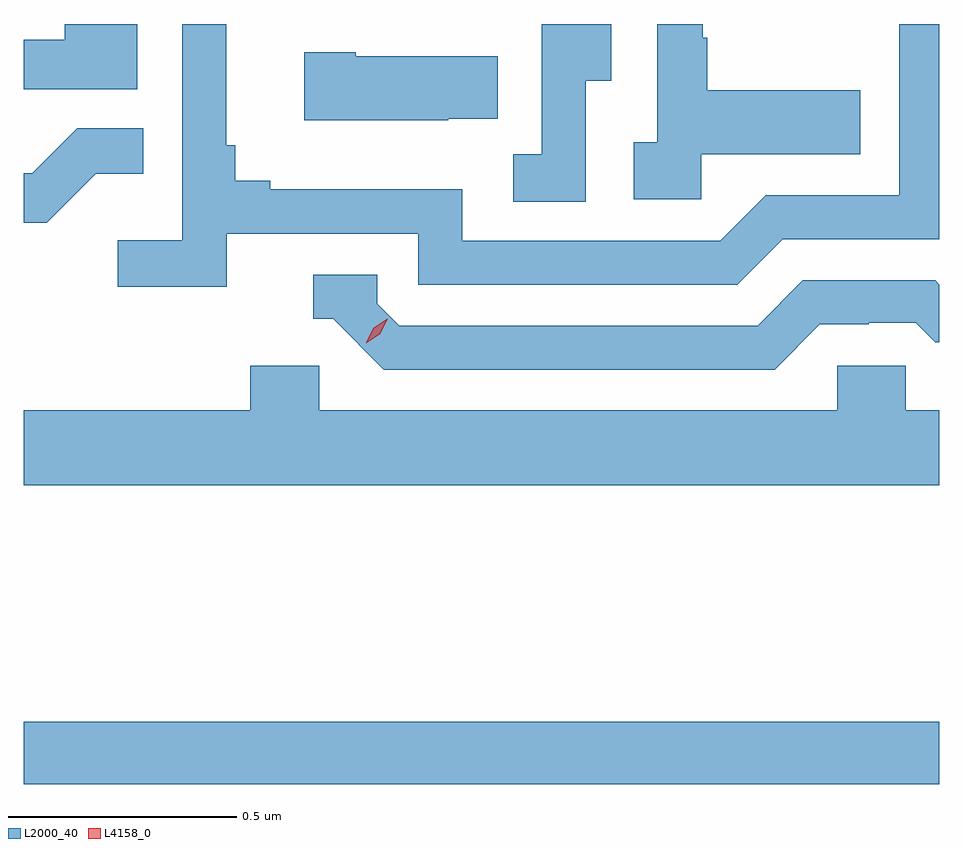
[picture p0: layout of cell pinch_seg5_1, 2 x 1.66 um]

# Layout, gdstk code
import gdstk
lib = gdstk.Library(unit=1e-6, precision=1e-09)
def R(c, l, rs):  # rectangles x0, y0, x1, y1
    for r in rs: c.add(gdstk.rectangle(r[:2], r[2:], *l))
def P(c, l, *ps):  # polygons
    for p in ps: c.add(gdstk.Polygon(p, *l))
L2000_40 = (2000, 40)
L4158_0 = (4158, 0)

pinch_seg5_1 = lib.new_cell('pinch_seg5_1')
R(pinch_seg5_1, L2000_40, [(1078.784,908.056,1080.784,908.192)])
P(pinch_seg5_1, L2000_40, [(1079.228,909.258),(1079.646,909.258),(1079.646,909.147),(1080.343,909.147),(1080.442,909.246),(1080.784,909.246),(1080.784,909.716),(1080.696,909.716),(1080.696,909.342),(1080.405,909.342),(1080.306,909.243),(1079.742,909.243),(1079.742,909.355),(1079.323,909.355),(1079.323,909.374),(1079.246,909.374),(1079.246,909.451),(1079.227,909.451),(1079.227,909.716),(1079.13,909.716),(1079.13,909.244),(1078.989,909.244),(1078.989,909.142),(1079.228,909.142)],
  [(1080.264,909.431),(1080.611,909.431),(1080.611,909.571),(1080.277,909.571),(1080.277,909.686),(1080.267,909.686),(1080.267,909.716),(1080.168,909.716),(1080.168,909.458),(1080.117,909.458),(1080.117,909.333),(1080.264,909.333)],
  [(1079.032,909.716),(1078.874,909.716),(1078.874,909.682),(1078.784,909.682),(1078.784,909.573),(1079.032,909.573)],
  [(1080.012,909.592),(1080.067,909.592),(1080.067,909.716),(1079.916,909.716),(1079.916,909.431),(1079.853,909.431),(1079.853,909.328),(1080.012,909.328)],
  [(1079.711,909.509),(1079.819,909.509),(1079.819,909.646),(1079.509,909.646),(1079.509,909.654),(1079.397,909.654),(1079.397,909.506),(1079.711,909.506)],
  [(1078.941,909.389),(1079.045,909.389),(1079.045,909.488),(1078.901,909.488),(1078.803,909.39),(1078.784,909.39),(1078.784,909.282),(1078.834,909.282)],
  [(1080.523,909.06),(1080.63,909.06),(1080.63,909.063),(1080.733,909.063),(1080.775,909.021),(1080.784,909.021),(1080.784,909.147),(1080.775,909.156),(1080.486,909.156),(1080.387,909.057),(1079.604,909.057),(1079.556,909.105),(1079.556,909.168),(1079.417,909.168),(1079.417,909.072),(1079.46,909.072),(1079.571,908.961),(1080.424,908.961)],
  [(1080.784,908.872),(1080.711,908.872),(1080.711,908.97),(1080.561,908.97),(1080.561,908.872),(1079.43,908.872),(1079.43,908.97),(1079.279,908.97),(1079.279,908.872),(1078.784,908.872),(1078.784,908.708),(1080.784,908.708)])
P(pinch_seg5_1, L4158_0, [(1079.532,909.019),(1079.532,909.02),(1079.548,909.052),(1079.578,909.072),(1079.579,909.072),(1079.579,909.072),(1079.563,909.039),(1079.532,909.019)])

lib.write_gds('pinch_seg5_1.gds')
